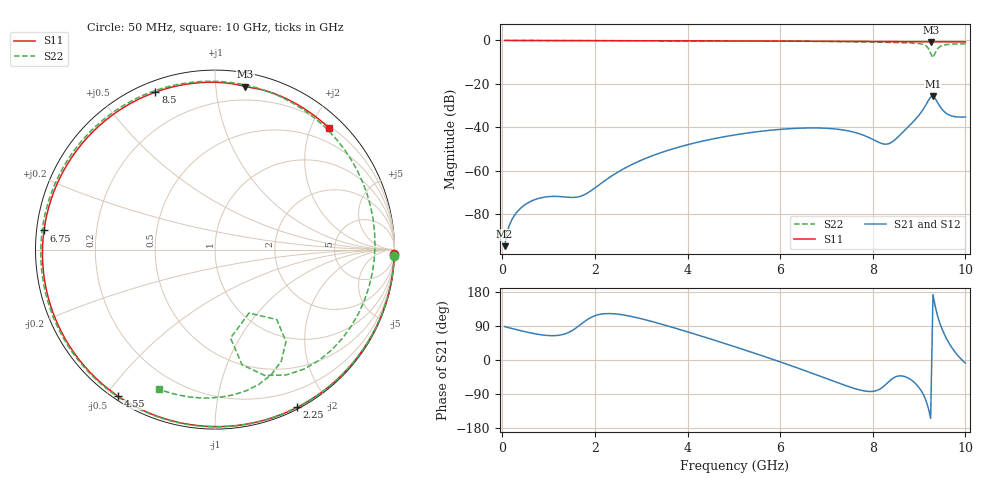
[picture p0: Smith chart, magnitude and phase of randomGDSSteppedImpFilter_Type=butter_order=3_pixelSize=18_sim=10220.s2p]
! freq	dB(S11)	phase(S11)	dB(S12)	phase(S12)
!  dB(S21)	phase(S21)	dB(S22)	phase(S22)
!S-par simulation data
#  GHz  S  DB  R 50
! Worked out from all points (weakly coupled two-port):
!   200 points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, 50 MHz to 10 GHz, reference 50 ohm
!   highest |S21| = -25.63 dB at 9.3 GHz (marker M1); lowest = -94.6 dB at 50 MHz (marker M2)
!   lowest |S11| = -0.7 dB at 9.25 GHz (marker M3), VSWR 25.42, Z = 4.81 + j60 ohm
!   |S11| at or under -10 dB: nowhere
!   |S22| runs from -7.9 to 0.0 dB; largest |S21 - S12| = 0
!   S11 on the Smith chart (normalised r, x): 50 MHz: 2, -79; 2.25 GHz: 0.02, -1.65; 4.55 GHz: 0.01, -0.54; 6.75 GHz: 0.02, +0.06; 8.5 GHz: 0.05, +0.69; 10 GHz: 0.23, +2.28
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0.05  -0.00 -1.4  -94.60 88.2  -94.60 88.2  -0.00 -1.9
0.25  -0.01 -7.1  -80.85 81.8  -80.85 81.8  -0.01 -9.6
0.8  -0.03 -22.6  -72.54 67.2  -72.54 67.2  -0.04 -30.3
1.75  -0.06 -48.9  -71.17 99.2  -71.17 99.2  -0.08 -64.6
2.25  -0.08 -62.5  -63.92 122.4  -63.92 122.4  -0.10 -81.6
3.4  -0.12 -93.1  -51.79 95.9  -51.79 95.9  -0.14 -118.5
4.55  -0.18 -123.5  -45.27 53.4  -45.27 53.4  -0.20 -153.7
5.05  -0.22 -136.9  -43.35 33.9  -43.35 33.9  -0.23 -169.4
5.95  -0.29 -162.1  -40.98 -2.9  -40.98 -2.9  -0.31 159.9
6.7  -0.36 175.2  -40.23 -35.4  -40.23 -35.4  -0.41 129.1
6.75  -0.37 173.6  -40.23 -37.6  -40.23 -37.6  -0.42 126.8
7.65  -0.46 143.2  -42.52 -76.8  -42.52 -76.8  -0.62 75.9
8.35  -0.54 116.7  -47.44 -56.6  -47.44 -56.6  -0.89 20.1
8.5  -0.56 110.7  -45.28 -44.0  -45.28 -44.0  -0.97 6.1
8.8  -0.59 98.4  -38.99 -50.0  -38.99 -50.0  -1.16 -24.0
9.05  -0.62 87.8  -32.88 -81.9  -32.88 -81.9  -1.61 -53.3
9.15  -0.64 83.5  -29.52 -107.4  -29.52 -107.4  -2.46 -68.4
9.25  -0.68 79.4  -26.01 -154.1  -26.01 -154.1  -6.02 -80.0
9.3  -0.68 77.5  -25.63 172.5  -25.63 172.5  -7.93 -61.8
9.45  -0.64 71.1  -30.35 96.5  -30.35 96.5  -2.82 -59.3
9.65  -0.63 62.2  -34.30 43.9  -34.30 43.9  -1.78 -82.5
10  -0.65 47.0  -35.18 -8.2  -35.18 -8.2  -1.53 -111.7
